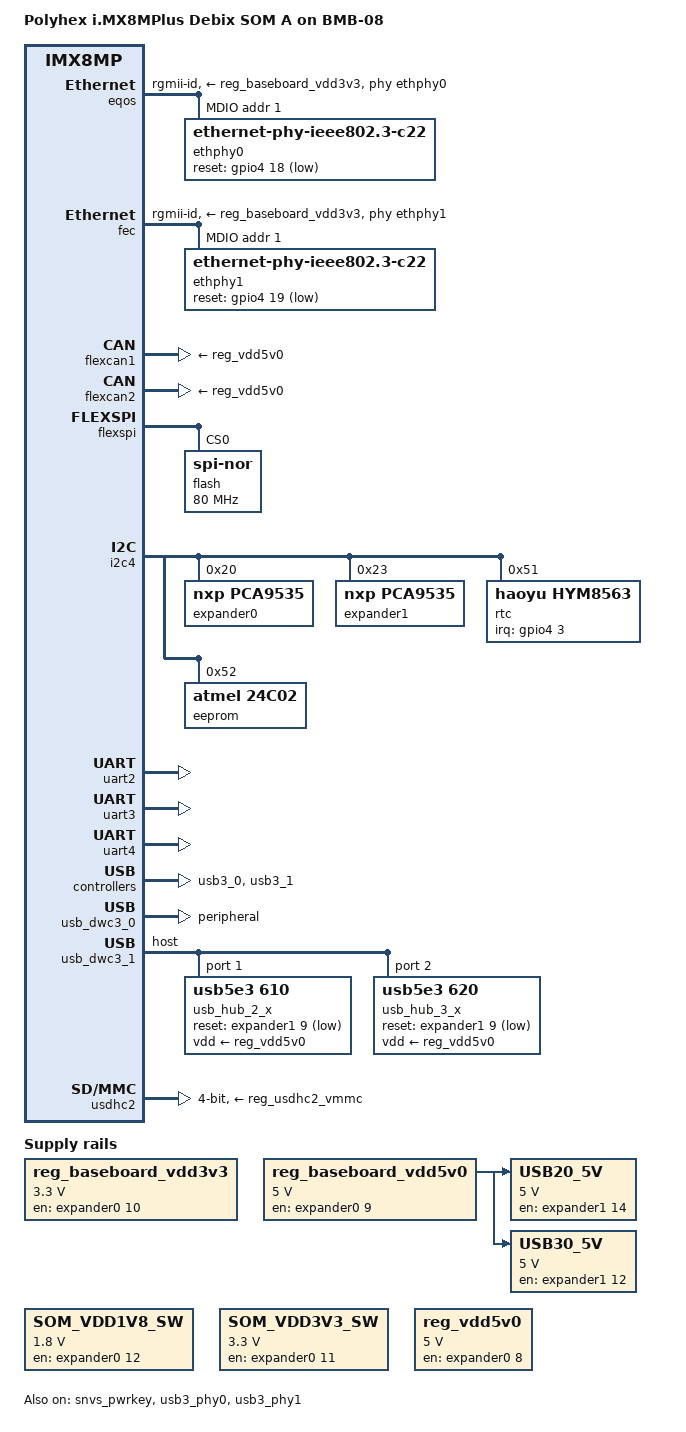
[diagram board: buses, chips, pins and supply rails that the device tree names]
// SPDX-License-Identifier: (GPL-2.0+ OR MIT)
/*
 * Copyright 2019 NXP
 * Copyright (C) 2023 Pengutronix, Marco Felsch <kernel@pengutronix.de>
 */

/dts-v1/;

#include "imx8mp-debix-som-a.dtsi"

/ {
	model = "Polyhex i.MX8MPlus Debix SOM A on BMB-08";
	compatible = "polyhex,imx8mp-debix-som-a-bmb-08", "polyhex,imx8mp-debix-som-a",
		     "fsl,imx8mp";

	aliases {
		ethernet0 = &eqos;
		ethernet1 = &fec;
	};

	chosen {
		stdout-path = &uart2;
	};

	reg_baseboard_vdd3v3: regulator-baseboard-vdd3v3 {
		compatible = "regulator-fixed";
		regulator-min-microvolt = <3300000>;
		regulator-max-microvolt = <3300000>;
		regulator-name = "BB_VDD3V3";
		/* Required timings for ethernet phy's */
		startup-delay-us = <50000>;
		off-on-delay-us = <110000>;
		gpio = <&expander0 10 GPIO_ACTIVE_HIGH>;
		enable-active-high;
	};

	reg_baseboard_vdd5v0: regulator-baseboard-vdd5v0 {
		compatible = "regulator-fixed";
		regulator-min-microvolt = <5000000>;
		regulator-max-microvolt = <5000000>;
		regulator-name = "BB_VDD5V";
		gpio = <&expander0 9 GPIO_ACTIVE_HIGH>;
		enable-active-high;
	};

	regulator-som-vdd1v8 {
		compatible = "regulator-fixed";
		regulator-min-microvolt = <1800000>;
		regulator-max-microvolt = <1800000>;
		regulator-name = "SOM_VDD1V8_SW";
		gpio = <&expander0 12 GPIO_ACTIVE_HIGH>;
		enable-active-high;
		regulator-always-on;
	};

	regulator-som-vdd3v3 {
		compatible = "regulator-fixed";
		regulator-min-microvolt = <3300000>;
		regulator-max-microvolt = <3300000>;
		regulator-name = "SOM_VDD3V3_SW";
		gpio = <&expander0 11 GPIO_ACTIVE_HIGH>;
		enable-active-high;
		regulator-always-on;
	};

	regulator-vbus-usb20 {
		compatible = "regulator-fixed";
		regulator-min-microvolt = <5000000>;
		regulator-max-microvolt = <5000000>;
		regulator-name = "USB20_5V";
		gpio = <&expander1 14 GPIO_ACTIVE_HIGH>;
		enable-active-high;
		regulator-always-on;
		vin-supply = <&reg_baseboard_vdd5v0>;
	};

	regulator-vbus-usb30 {
		compatible = "regulator-fixed";
		regulator-min-microvolt = <5000000>;
		regulator-max-microvolt = <5000000>;
		regulator-name = "USB30_5V";
		gpio = <&expander1 12 GPIO_ACTIVE_HIGH>;
		enable-active-high;
		regulator-always-on;
		vin-supply = <&reg_baseboard_vdd5v0>;
	};

	reg_vdd5v0: regulator-vdd5v0 {
		compatible = "regulator-fixed";
		regulator-min-microvolt = <5000000>;
		regulator-max-microvolt = <5000000>;
		regulator-name = "VDD_5V";
		gpio = <&expander0 8 GPIO_ACTIVE_HIGH>;
		enable-active-high;
	};
};

&eqos {
	pinctrl-names = "default";
	pinctrl-0 = <&pinctrl_eqos>;
	nvmem-cells = <&ethmac1>;
	nvmem-cell-names = "mac-address";
	phy-supply = <&reg_baseboard_vdd3v3>;
	phy-handle = <&ethphy0>;
	phy-mode = "rgmii-id";
	status = "okay";

	mdio {
		compatible = "snps,dwmac-mdio";
		#address-cells = <1>;
		#size-cells = <0>;

		ethphy0: ethernet-phy@1 {
			compatible = "ethernet-phy-ieee802.3-c22";
			reg = <1>;
			reset-gpios = <&gpio4 18 GPIO_ACTIVE_LOW>;
			reset-assert-us = <20000>;
			reset-deassert-us = <150000>;
			eee-broken-1000t;
			realtek,clkout-disable;
		};
	};
};

&fec {
	pinctrl-names = "default";
	pinctrl-0 = <&pinctrl_fec>;
	nvmem-cells = <&ethmac2>;
	nvmem-cell-names = "mac-address";
	phy-supply = <&reg_baseboard_vdd3v3>;
	phy-handle = <&ethphy1>;
	phy-mode = "rgmii-id";
	fsl,magic-packet;
	status = "okay";

	mdio {
		#address-cells = <1>;
		#size-cells = <0>;

		ethphy1: ethernet-phy@1 {
			compatible = "ethernet-phy-ieee802.3-c22";
			reg = <1>;
			reset-gpios = <&gpio4 19 GPIO_ACTIVE_LOW>;
			reset-assert-us = <20000>;
			reset-deassert-us = <150000>;
			eee-broken-1000t;
			realtek,clkout-disable;
		};
	};
};

&flexcan1 {
	pinctrl-names = "default";
	pinctrl-0 = <&pinctrl_flexcan1>;
	xceiver-supply = <&reg_vdd5v0>;
	status = "okay";
};

&flexcan2 {
	pinctrl-names = "default";
	pinctrl-0 = <&pinctrl_flexcan2>;
	xceiver-supply = <&reg_vdd5v0>;
	status = "okay";
};

&flexspi {
	pinctrl-names = "default";
	pinctrl-0 = <&pinctrl_flexspi0>;
	status = "okay";

	flash: flash@0 {
		compatible = "jedec,spi-nor";
		reg = <0>;
		spi-max-frequency = <80000000>;
		spi-tx-bus-width = <1>;
		spi-rx-bus-width = <4>;
		#address-cells = <1>;
		#size-cells = <1>;
	};
};

&i2c4 {
	expander0: gpio@20 {
		compatible = "nxp,pca9535";
		reg = <0x20>;
		gpio-controller;
		#gpio-cells = <0x02>;
	};

	expander1: gpio@23 {
		compatible = "nxp,pca9535";
		reg = <0x23>;
		gpio-controller;
		#gpio-cells = <0x02>;

		/*
		 * Since USB1 is bound to peripheral mode we need to ensure
		 * that VBUS is turned off.
		 */
		usb30-otg-hog {
			gpio-hog;
			gpios = <13 GPIO_ACTIVE_HIGH>;
			output-low;
			line-name = "USB30_OTG_EN";
		};
	};

	rtc@51 {
		compatible = "haoyu,hym8563";
		reg = <0x51>;
		pinctrl-names = "default";
		pinctrl-0 = <&pinctrl_rtc>;
		interrupt-parent = <&gpio4>;
		interrupts = <3 IRQ_TYPE_EDGE_FALLING>;
		#clock-cells = <0>;
	};

	eeprom@52 {
		compatible = "atmel,24c02";
		reg = <0x52>;
		pagesize = <16>;
		#address-cells = <1>;
		#size-cells = <1>;

		/* MACs stored in ASCII */
		ethmac1: mac-address@0 {
			reg = <0x0 0xc>;
		};

		ethmac2: mac-address@c {
			reg = <0xc 0xc>;
		};
	};
};

&snvs_pwrkey {
	status = "okay";
};

/* Debug */
&uart2 {
	pinctrl-names = "default";
	pinctrl-0 = <&pinctrl_uart2>;
	status = "okay";
};

&uart3 {
	pinctrl-names = "default";
	pinctrl-0 = <&pinctrl_uart3>;
	status = "okay";
};

&uart4 {
	pinctrl-names = "default";
	pinctrl-0 = <&pinctrl_uart4>;
	status = "okay";
};

&usb3_0 {
	status = "okay";
};

&usb3_1 {
	status = "okay";
};

&usb_dwc3_0 {
	dr_mode = "peripheral";
	status = "okay";
};

&usb_dwc3_1 {
	dr_mode = "host";
	#address-cells = <1>;
	#size-cells = <0>;
	status = "okay";

	/* 2.x hub on port 1 */
	usb_hub_2_x: hub@1 {
		compatible = "usb5e3,610";
		reg = <1>;
		reset-gpios = <&expander1 9 GPIO_ACTIVE_LOW>;
		vdd-supply = <&reg_vdd5v0>;
		peer-hub = <&usb_hub_3_x>;
	};

	/* 3.x hub on port 2 */
	usb_hub_3_x: hub@2 {
		compatible = "usb5e3,620";
		reg = <2>;
		reset-gpios = <&expander1 9 GPIO_ACTIVE_LOW>;
		vdd-supply = <&reg_vdd5v0>;
		peer-hub = <&usb_hub_2_x>;
	};
};

&usb3_phy0 {
	status = "okay";
};

&usb3_phy1 {
	status = "okay";
};

/* µSD Card */
&usdhc2 {
	pinctrl-names = "default", "state_100mhz", "state_200mhz";
	pinctrl-0 = <&pinctrl_usdhc2>;
	pinctrl-1 = <&pinctrl_usdhc2_100mhz>;
	pinctrl-2 = <&pinctrl_usdhc2_200mhz>;
	assigned-clocks = <&clk IMX8MP_CLK_USDHC2>;
	assigned-clock-rates = <400000000>;
	vmmc-supply = <&reg_usdhc2_vmmc>;
	bus-width = <4>;
	disable-wp;
	no-sdio;
	no-mmc;
	status = "okay";
};

&iomuxc {
	pinctrl_eqos: eqosgrp {
		fsl,pins = <
			MX8MP_IOMUXC_ENET_MDC__ENET_QOS_MDC				0x3
			MX8MP_IOMUXC_ENET_MDIO__ENET_QOS_MDIO				0x3
			MX8MP_IOMUXC_ENET_RD0__ENET_QOS_RGMII_RD0			0x91
			MX8MP_IOMUXC_ENET_RD1__ENET_QOS_RGMII_RD1			0x91
			MX8MP_IOMUXC_ENET_RD2__ENET_QOS_RGMII_RD2			0x91
			MX8MP_IOMUXC_ENET_RD3__ENET_QOS_RGMII_RD3			0x91
			MX8MP_IOMUXC_ENET_RXC__CCM_ENET_QOS_CLOCK_GENERATE_RX_CLK	0x91
			MX8MP_IOMUXC_ENET_RX_CTL__ENET_QOS_RGMII_RX_CTL			0x91
			MX8MP_IOMUXC_ENET_TD0__ENET_QOS_RGMII_TD0			0x1f
			MX8MP_IOMUXC_ENET_TD1__ENET_QOS_RGMII_TD1			0x1f
			MX8MP_IOMUXC_ENET_TD2__ENET_QOS_RGMII_TD2			0x1f
			MX8MP_IOMUXC_ENET_TD3__ENET_QOS_RGMII_TD3			0x1f
			MX8MP_IOMUXC_ENET_TX_CTL__ENET_QOS_RGMII_TX_CTL			0x1f
			MX8MP_IOMUXC_ENET_TXC__CCM_ENET_QOS_CLOCK_GENERATE_TX_CLK	0x1f

			MX8MP_IOMUXC_SAI1_RXFS__ENET1_1588_EVENT0_IN			0x1f
			MX8MP_IOMUXC_SAI1_TXD6__GPIO4_IO18				0x19
		>;
	};

	pinctrl_fec: fecgrp {
		fsl,pins = <
			MX8MP_IOMUXC_SAI1_RXD2__ENET1_MDC		0x3
			MX8MP_IOMUXC_SAI1_RXD3__ENET1_MDIO		0x3
			MX8MP_IOMUXC_SAI1_RXD4__ENET1_RGMII_RD0		0x91
			MX8MP_IOMUXC_SAI1_RXD5__ENET1_RGMII_RD1		0x91
			MX8MP_IOMUXC_SAI1_RXD6__ENET1_RGMII_RD2		0x91
			MX8MP_IOMUXC_SAI1_RXD7__ENET1_RGMII_RD3		0x91
			MX8MP_IOMUXC_SAI1_TXC__ENET1_RGMII_RXC		0x91
			MX8MP_IOMUXC_SAI1_TXFS__ENET1_RGMII_RX_CTL	0x91
			MX8MP_IOMUXC_SAI1_TXD0__ENET1_RGMII_TD0		0x1f
			MX8MP_IOMUXC_SAI1_TXD1__ENET1_RGMII_TD1		0x1f
			MX8MP_IOMUXC_SAI1_TXD2__ENET1_RGMII_TD2		0x1f
			MX8MP_IOMUXC_SAI1_TXD3__ENET1_RGMII_TD3		0x1f
			MX8MP_IOMUXC_SAI1_TXD4__ENET1_RGMII_TX_CTL	0x1f
			MX8MP_IOMUXC_SAI1_TXD5__ENET1_RGMII_TXC		0x1f
			MX8MP_IOMUXC_SAI1_RXD0__ENET1_1588_EVENT1_IN    0x1f
			MX8MP_IOMUXC_SAI1_TXD7__GPIO4_IO19		0x19
		>;
	};

	pinctrl_flexcan1: flexcan1grp {
		fsl,pins = <
			MX8MP_IOMUXC_SAI5_RXD2__CAN1_RX			0x154
			MX8MP_IOMUXC_SAI5_RXD1__CAN1_TX			0x154
		>;
	};

	pinctrl_flexcan2: flexcan2grp {
		fsl,pins = <
			MX8MP_IOMUXC_SAI5_MCLK__CAN2_RX			0x154
			MX8MP_IOMUXC_SAI5_RXD3__CAN2_TX			0x154
		>;
	};

	pinctrl_flexspi0: flexspi0grp {
		fsl,pins = <
			MX8MP_IOMUXC_NAND_ALE__FLEXSPI_A_SCLK           0x1c2
			MX8MP_IOMUXC_NAND_CE0_B__FLEXSPI_A_SS0_B        0x82
			MX8MP_IOMUXC_NAND_DATA00__FLEXSPI_A_DATA00      0x82
			MX8MP_IOMUXC_NAND_DATA01__FLEXSPI_A_DATA01      0x82
			MX8MP_IOMUXC_NAND_DATA02__FLEXSPI_A_DATA02      0x82
			MX8MP_IOMUXC_NAND_DATA03__FLEXSPI_A_DATA03      0x82
		>;
	};

	pinctrl_i2c1: i2c1grp {
		fsl,pins = <
			MX8MP_IOMUXC_I2C1_SCL__I2C1_SCL			0x400001c2
			MX8MP_IOMUXC_I2C1_SDA__I2C1_SDA			0x400001c2
		>;
	};

	pinctrl_i2c4: i2c4grp {
		fsl,pins = <
			MX8MP_IOMUXC_I2C4_SCL__I2C4_SCL			0x400001c3
			MX8MP_IOMUXC_I2C4_SDA__I2C4_SDA			0x400001c3
		>;
	};

	pinctrl_rtc: rtcgrp {
		fsl,pins = <
			MX8MP_IOMUXC_SAI1_RXD1__GPIO4_IO03		0x140
		>;
	};

	pinctrl_pmic: pmicgrp {
		fsl,pins = <
			MX8MP_IOMUXC_GPIO1_IO03__GPIO1_IO03		0x41
		>;
	};

	pinctrl_uart2: uart2grp {
		fsl,pins = <
			MX8MP_IOMUXC_UART2_RXD__UART2_DCE_RX		0x14f
			MX8MP_IOMUXC_UART2_TXD__UART2_DCE_TX		0x14f
		>;
	};

	pinctrl_uart3: uart3grp {
		fsl,pins = <
			MX8MP_IOMUXC_UART3_RXD__UART3_DCE_RX		0x49
			MX8MP_IOMUXC_UART3_TXD__UART3_DCE_TX		0x49
		>;
	};

	pinctrl_uart4: uart4grp {
		fsl,pins = <
			MX8MP_IOMUXC_UART4_RXD__UART4_DCE_RX		0x49
			MX8MP_IOMUXC_UART4_TXD__UART4_DCE_TX		0x49
		>;
	};

	pinctrl_usdhc2: usdhc2grp {
		fsl,pins = <
			MX8MP_IOMUXC_SD2_CLK__USDHC2_CLK		0x190
			MX8MP_IOMUXC_SD2_CMD__USDHC2_CMD		0x1d0
			MX8MP_IOMUXC_SD2_DATA0__USDHC2_DATA0		0x1d0
			MX8MP_IOMUXC_SD2_DATA1__USDHC2_DATA1		0x1d0
			MX8MP_IOMUXC_SD2_DATA2__USDHC2_DATA2		0x1d0
			MX8MP_IOMUXC_SD2_DATA3__USDHC2_DATA3		0x1d0
			MX8MP_IOMUXC_GPIO1_IO04__USDHC2_VSELECT		0xc1
		>;
	};

	pinctrl_usdhc2_100mhz: usdhc2-100mhzgrp {
		fsl,pins = <
			MX8MP_IOMUXC_SD2_CLK__USDHC2_CLK		0x194
			MX8MP_IOMUXC_SD2_CMD__USDHC2_CMD		0x1d4
			MX8MP_IOMUXC_SD2_DATA0__USDHC2_DATA0		0x1d4
			MX8MP_IOMUXC_SD2_DATA1__USDHC2_DATA1		0x1d4
			MX8MP_IOMUXC_SD2_DATA2__USDHC2_DATA2		0x1d4
			MX8MP_IOMUXC_SD2_DATA3__USDHC2_DATA3		0x1d4
			MX8MP_IOMUXC_GPIO1_IO04__USDHC2_VSELECT		0xc1
		>;
	};

	pinctrl_usdhc2_200mhz: usdhc2-200mhzgrp {
		fsl,pins = <
			MX8MP_IOMUXC_SD2_CLK__USDHC2_CLK		0x196
			MX8MP_IOMUXC_SD2_CMD__USDHC2_CMD		0x1d6
			MX8MP_IOMUXC_SD2_DATA0__USDHC2_DATA0		0x1d6
			MX8MP_IOMUXC_SD2_DATA1__USDHC2_DATA1		0x1d6
			MX8MP_IOMUXC_SD2_DATA2__USDHC2_DATA2		0x1d6
			MX8MP_IOMUXC_SD2_DATA3__USDHC2_DATA3		0x1d6
			MX8MP_IOMUXC_GPIO1_IO04__USDHC2_VSELECT		0xc1
		>;
	};
};
